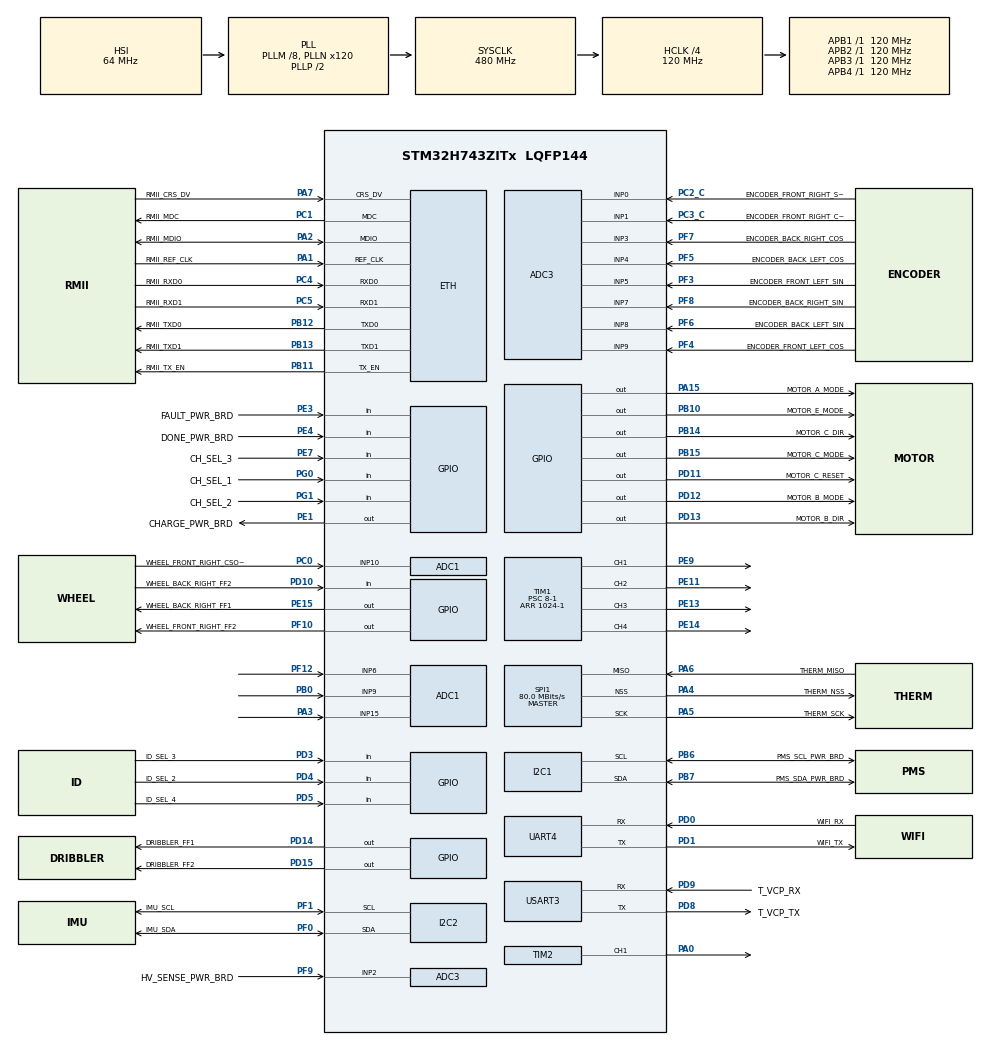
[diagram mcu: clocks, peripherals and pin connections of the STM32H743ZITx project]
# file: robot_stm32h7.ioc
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ADC1.Channel-1\#ChannelRegularConversion=ADC_CHANNEL_10
ADC1.ClockPrescaler=ADC_CLOCK_ASYNC_DIV6
ADC1.NbrOfConversionFlag=1
ADC1.OffsetNumber-1\#ChannelRegularConversion=ADC_OFFSET_NONE
ADC1.Rank-1\#ChannelRegularConversion=1
ADC1.SamplingTime-1\#ChannelRegularConversion=ADC_SAMPLETIME_1CYCLE_5
ADC1.master=1
ADC2.Channel-0\#ChannelRegularConversion=ADC_CHANNEL_10
ADC2.ClockPrescaler=ADC_CLOCK_ASYNC_DIV6
ADC2.NbrOfConversionFlag=1
ADC2.OffsetNumber-0\#ChannelRegularConversion=ADC_OFFSET_NONE
ADC2.Rank-0\#ChannelRegularConversion=1
ADC2.SamplingTime-0\#ChannelRegularConversion=ADC_SAMPLETIME_1CYCLE_5
ADC3.Channel-3\#ChannelRegularConversion=ADC_CHANNEL_1
ADC3.ClockPrescaler=ADC_CLOCK_ASYNC_DIV6
ADC3.NbrOfConversionFlag=1
ADC3.OffsetNumber-3\#ChannelRegularConversion=ADC_OFFSET_NONE
ADC3.Rank-3\#ChannelRegularConversion=1
ADC3.SamplingTime-3\#ChannelRegularConversion=ADC_SAMPLETIME_1CYCLE_5
CORTEX_M7.AccessPermission-Cortex_Memory_Protection_Unit_Region0_Settings=MPU_REGION_FULL_ACCESS
CORTEX_M7.AccessPermission-Cortex_Memory_Protection_Unit_Region1_Settings=MPU_REGION_FULL_ACCESS
CORTEX_M7.AccessPermission-Cortex_Memory_Protection_Unit_Region2_Settings=MPU_REGION_FULL_ACCESS
CORTEX_M7.BaseAddress-Cortex_Memory_Protection_Unit_Region0_Settings=0x30040000
CORTEX_M7.BaseAddress-Cortex_Memory_Protection_Unit_Region1_Settings=0x30044000
CORTEX_M7.BaseAddress-Cortex_Memory_Protection_Unit_Region2_Settings=0x24000000
CORTEX_M7.CPU_DCache=Enabled
CORTEX_M7.CPU_ICache=Enabled
CORTEX_M7.Enable-Cortex_Memory_Protection_Unit_Region0_Settings=MPU_REGION_ENABLE
CORTEX_M7.Enable-Cortex_Memory_Protection_Unit_Region1_Settings=MPU_REGION_ENABLE
CORTEX_M7.Enable-Cortex_Memory_Protection_Unit_Region2_Settings=MPU_REGION_ENABLE
CORTEX_M7.IsBufferable-Cortex_Memory_Protection_Unit_Region0_Settings=MPU_ACCESS_BUFFERABLE
CORTEX_M7.IsBufferable-Cortex_Memory_Protection_Unit_Region1_Settings=MPU_ACCESS_NOT_BUFFERABLE
CORTEX_M7.IsBufferable-Cortex_Memory_Protection_Unit_Region2_Settings=MPU_ACCESS_BUFFERABLE
CORTEX_M7.IsCacheable-Cortex_Memory_Protection_Unit_Region1_Settings=MPU_ACCESS_CACHEABLE
CORTEX_M7.IsCacheable-Cortex_Memory_Protection_Unit_Region2_Settings=MPU_ACCESS_CACHEABLE
CORTEX_M7.IsShareable-Cortex_Memory_Protection_Unit_Region1_Settings=MPU_ACCESS_NOT_SHAREABLE
CORTEX_M7.IsShareable-Cortex_Memory_Protection_Unit_Region2_Settings=MPU_ACCESS_SHAREABLE
CORTEX_M7.MPU_Control=MPU_PRIVILEGED_DEFAULT
CORTEX_M7.Size-Cortex_Memory_Protection_Unit_Region0_Settings=MPU_REGION_SIZE_256B
CORTEX_M7.Size-Cortex_Memory_Protection_Unit_Region1_Settings=MPU_REGION_SIZE_16KB
CORTEX_M7.Size-Cortex_Memory_Protection_Unit_Region2_Settings=MPU_REGION_SIZE_512KB
CORTEX_M7.TypeExtField-Cortex_Memory_Protection_Unit_Region1_Settings=MPU_TEX_LEVEL0
CORTEX_M7.TypeExtField-Cortex_Memory_Protection_Unit_Region2_Settings=MPU_TEX_LEVEL1
Dma.Request0=UART4_RX
Dma.UART4_RX.0.Direction=DMA_PERIPH_TO_MEMORY
Dma.UART4_RX.0.EventEnable=DISABLE
Dma.UART4_RX.0.FIFOMode=DMA_FIFOMODE_DISABLE
Dma.UART4_RX.0.Instance=DMA1_Stream0
Dma.UART4_RX.0.MemDataAlignment=DMA_MDATAALIGN_BYTE
Dma.UART4_RX.0.MemInc=DMA_MINC_ENABLE
Dma.UART4_RX.0.Mode=DMA_CIRCULAR
Dma.UART4_RX.0.PeriphDataAlignment=DMA_PDATAALIGN_BYTE
Dma.UART4_RX.0.PeriphInc=DMA_PINC_DISABLE
Dma.UART4_RX.0.Polarity=HAL_DMAMUX_REQ_GEN_RISING
Dma.UART4_RX.0.Priority=DMA_PRIORITY_LOW
Dma.UART4_RX.0.RequestNumber=1
Dma.UART4_RX.0.SignalID=NONE
Dma.UART4_RX.0.SyncEnable=DISABLE
Dma.UART4_RX.0.SyncPolarity=HAL_DMAMUX_SYNC_NO_EVENT
Dma.UART4_RX.0.SyncRequestNumber=1
Dma.UART4_RX.0.SyncSignalID=NONE
ETH.MediaInterface=HAL_ETH_RMII_MODE
FREERTOS.Queues01=RobotLogProtoQ,16,TbotsProto_RobotLog,0,Dynamic,NULL,NULL
FREERTOS.Tasks01=NetStartTask,24,1024,io_proto_multicast_startNetworkingTask,As weak,NULL,Static,NetStartTaskBuffer,NetStartTaskControlBlock;RobotStatusTask,25,1024,io_proto_multicast_senderTask,As external,(void *)robot_status_msg_sender_profile,Static,RobotStatusTaskBuffer,RobotStatusTaskControlBlock;VisionMsgTask,24,1024,io_proto_multicast_listenerTask,As external,(void *)vision_msg_listener_profile,Static,VisionMsgTaskBuffer,VisionMsgTaskControlBlock;PrimMsgTask,24,1024,io_proto_multicast_listenerTask,As external,(void *)primitive_msg_listener_profile,Static,PrimMsgTaskBuffer,PrimMsgTaskControlBlock;RobotStatus,24,1024,io_robot_status_task,As external,(void*)robot_status_msg_sender_profile,Static,RobotStatusBuffer,RobotStatusControlBlock;RobotLogMsgSend,24,1024,io_proto_multicast_senderTask,As external,(void *)robot_log_msg_sender_profile,Static,RobotLogMsgSendBuffer,RobotLogMsgSendControlBlock;NetworkRobotLog,24,1024,io_network_logger_task,As external,(void*)robot_log_msg_sender_profile,Static,NetworkRobotLogBuffer,NetworkRobotLogControlBlock;UbloxOdinTask,24,1024,io_ublox_odinw262_communicator_task,As external,NULL,Static,UbloxOdinTaskBuffer,UbloxOdinTaskControlBlock;RobotStatusSend,24,1024,io_proto_multicast_senderTask,As external,(void*)robot_status_msg_sender_profile,Static,RobotStatusSendBuffer,RobotStatusSendControlBlock;RobotTask,24,1024,RobotMain,Default,(void *)primitive_msg_listener_profile ,Static,PrimitiveManageBuffer,PrimitiveManageControlBlock
FREERTOS.configMINIMAL_STACK_SIZE=1024
FREERTOS.configTOTAL_HEAP_SIZE=80720
I2C1.Timing=0x307075B1
I2C2.Timing=0x307075B1
LWIP.BSP.number=1
LWIP.LWIP_DHCP=0
LWIP.LWIP_IGMP=1
LWIP.LWIP_IPV4=0
LWIP.LWIP_IPV6=1
LWIP.LWIP_TCP=0
LWIP.MEMP_MEM_MALLOC=1
LWIP.MEM_LIBC_MALLOC=1
LWIP.MEM_SIZE=32768
LWIP.Version=v2.1.2_Cube
LWIP0.BSP.STBoard=false
LWIP0.BSP.api=BSP_COMPONENT_DRIVER
LWIP0.BSP.component=LAN8742
LWIP0.BSP.i2caddr=0
LWIP0.BSP.instance=LAN8742
LWIP0.BSP.name=Driver_PHY
LWIP0.BSP.solution=LAN8742
Mcu.Family=STM32H7
Mcu.Name=STM32H743ZITx
Mcu.Package=LQFP144
NVIC.DMA1_Stream0_IRQn=true\:5\:0\:false\:false\:true\:true\:false\:true
NVIC.ETH_IRQn=true\:5\:0\:false\:false\:true\:true\:true\:true
NVIC.ETH_WKUP_IRQn=true\:5\:0\:false\:false\:true\:true\:true\:true
NVIC.PriorityGroup=NVIC_PRIORITYGROUP_4
NVIC.UART4_IRQn=true\:5\:0\:false\:false\:true\:true\:true\:true
NVIC.USART3_IRQn=true\:5\:0\:false\:false\:true\:true\:true\:true
PA0.Signal=S_TIM2_CH1
PA1.GPIO_Label=RMII_REF_CLK
PA1.Mode=RMII
PA1.Signal=ETH_REF_CLK
PA13\ (JTMS/SWDIO).GPIO_Label=T_SWDIO
PA13\ (JTMS/SWDIO).Mode=Trace_Asynchronous_SW
PA13\ (JTMS/SWDIO).Signal=DEBUG_JTMS-SWDIO
PA14\ (JTCK/SWCLK).GPIO_Label=T_SWCLK
PA14\ (JTCK/SWCLK).Mode=Trace_Asynchronous_SW
PA14\ (JTCK/SWCLK).Signal=DEBUG_JTCK-SWCLK
PA15\ (JTDI).GPIO_Label=MOTOR_A_MODE
PA15\ (JTDI).Signal=GPIO_Output
PA2.GPIO_Label=RMII_MDIO
PA2.Mode=RMII
PA2.Signal=ETH_MDIO
PA3.Signal=ADCx_INP15
PA4.GPIO_Label=THERM_NSS
PA4.Mode=NSS_Signal_Hard_Output
PA4.Signal=SPI1_NSS
PA5.GPIO_Label=THERM_SCK
PA5.Mode=RX_Only_Simplex_Unidirect_Master
PA5.Signal=SPI1_SCK
PA6.GPIO_Label=THERM_MISO
PA6.Mode=RX_Only_Simplex_Unidirect_Master
PA6.Signal=SPI1_MISO
PA7.GPIO_Label=RMII_CRS_DV
PA7.Mode=RMII
PA7.Signal=ETH_CRS_DV
PB0.Signal=ADCx_INP9
PB1.Signal=ADCx_INP5
PB10.GPIO_Label=MOTOR_E_MODE
PB10.Signal=GPIO_Output
PB11.GPIO_Label=RMII_TX_EN
PB11.Mode=RMII
PB11.Signal=ETH_TX_EN
PB12.GPIO_Label=RMII_TXD0
PB12.Mode=RMII
PB12.Signal=ETH_TXD0
PB13.GPIO_Label=RMII_TXD1
PB13.Mode=RMII
PB13.Signal=ETH_TXD1
PB14.GPIO_Label=MOTOR_C_DIR
PB14.Signal=GPIO_Output
PB15.GPIO_Label=MOTOR_C_MODE
PB15.Signal=GPIO_Output
PB3\ (JTDO/TRACESWO).GPIO_Label=T_SWO
PB3\ (JTDO/TRACESWO).Mode=Trace_Asynchronous_SW
PB3\ (JTDO/TRACESWO).Signal=DEBUG_JTDO-SWO
PB6.GPIO_Label=PMS_SCL_PWR_BRD
PB6.Mode=I2C
PB6.Signal=I2C1_SCL
PB7.GPIO_Label=PMS_SDA_PWR_BRD
PB7.Mode=I2C
PB7.Signal=I2C1_SDA
PB8.Signal=S_TIM16_CH1
PB9.Signal=S_TIM17_CH1
PC0.GPIO_Label=WHEEL_FRONT_RIGHT_CSOUT
PC0.Signal=ADCx_INP10
PC1.GPIO_Label=RMII_MDC
PC1.Mode=RMII
PC1.Signal=ETH_MDC
PC10.GPIO_Label=SD_DAT2
PC10.Signal=SDMMC1_D2
PC11.GPIO_Label=SD_DAT3
PC11.Signal=SDMMC1_D3
PC12.GPIO_Label=SD_CLK
PC12.Signal=SDMMC1_CK
PC14-OSC32_IN\ (OSC32_IN).GPIO_Label=PC14-OSC32_IN
PC14-OSC32_IN\ (OSC32_IN).Mode=LSE-External-Oscillator
PC14-OSC32_IN\ (OSC32_IN).Signal=RCC_OSC32_IN
PC15-OSC32_OUT\ (OSC32_OUT).GPIO_Label=PC15-OSC32_OUT
PC15-OSC32_OUT\ (OSC32_OUT).Mode=LSE-External-Oscillator
PC15-OSC32_OUT\ (OSC32_OUT).Signal=RCC_OSC32_OUT
PC2_C.GPIO_Label=ENCODER_FRONT_RIGHT_SIN
PC2_C.Signal=SharedAnalog_PC2
PC3_C.GPIO_Label=ENCODER_FRONT_RIGHT_COS
PC3_C.Mode=IN1-Single-Ended
PC3_C.Signal=ADC3_INP1
PC4.GPIO_Label=RMII_RXD0
PC4.Mode=RMII
PC4.Signal=ETH_RXD0
PC5.GPIO_Label=RMII_RXD1
PC5.Mode=RMII
PC5.Signal=ETH_RXD1
PD0.GPIO_Label=WIFI_RX
PD0.Mode=Asynchronous
PD0.Signal=UART4_RX
PD1.GPIO_Label=WIFI_TX
PD1.Mode=Asynchronous
PD1.Signal=UART4_TX
PD10.GPIO_Label=WHEEL_BACK_RIGHT_FF2
PD10.Signal=GPIO_Input
PD11.GPIO_Label=MOTOR_C_RESET
PD11.Signal=GPIO_Output
PD12.GPIO_Label=MOTOR_B_MODE
PD12.Signal=GPIO_Output
PD13.GPIO_Label=MOTOR_B_DIR
PD13.Signal=GPIO_Output
PD14.GPIO_Label=DRIBBLER_FF1
PD14.Signal=GPIO_Output
PD15.GPIO_Label=DRIBBLER_FF2
PD15.Signal=GPIO_Output
PD2.GPIO_Label=SD_CMD
PD2.Signal=SDMMC1_CMD
PD3.GPIO_Label=ID_SEL_3
PD3.Signal=GPIO_Input
PD4.GPIO_Label=ID_SEL_2
PD4.Signal=GPIO_Input
PD5.GPIO_Label=ID_SEL_4
PD5.Signal=GPIO_Input
PD8.GPIO_Label=T_VCP_TX
PD8.Mode=Asynchronous
PD8.Signal=USART3_TX
PD9.GPIO_Label=T_VCP_RX
PD9.Mode=Asynchronous
PD9.Signal=USART3_RX
PE1.GPIO_Label=CHARGE_PWR_BRD
PE1.Signal=GPIO_Output
PE11.Signal=S_TIM1_CH2
PE13.Signal=S_TIM1_CH3
PE14.Signal=S_TIM1_CH4
PE15.GPIO_Label=WHEEL_BACK_RIGHT_FF1
PE15.Signal=GPIO_Output
PE3.GPIO_Label=FAULT_PWR_BRD
PE3.Signal=GPIO_Input
PE4.GPIO_Label=DONE_PWR_BRD
PE4.Signal=GPIO_Input
PE7.GPIO_Label=CH_SEL_3
PE7.Signal=GPIO_Input
PE9.Signal=S_TIM1_CH1
PF0.GPIO_Label=IMU_SDA
PF0.Mode=I2C
PF0.Signal=I2C2_SDA
PF1.GPIO_Label=IMU_SCL
PF1.Mode=I2C
PF1.Signal=I2C2_SCL
PF10.GPIO_Label=WHEEL_FRONT_RIGHT_FF2
PF10.Signal=GPIO_Output
PF11.Signal=ADC1_INP2
PF12.Mode=IN6-Single-Ended
PF12.Signal=ADC1_INP6
PF3.GPIO_Label=ENCODER_FRONT_LEFT_SIN
PF3.Mode=IN5-Single-Ended
PF3.Signal=ADC3_INP5
PF4.GPIO_Label=ENCODER_FRONT_LEFT_COS
PF4.Mode=IN9-Single-Ended
PF4.Signal=ADC3_INP9
PF5.GPIO_Label=ENCODER_BACK_LEFT_COS
PF5.Mode=IN4-Single-Ended
PF5.Signal=ADC3_INP4
PF6.GPIO_Label=ENCODER_BACK_LEFT_SIN
PF6.Signal=SharedAnalog_PF6
PF7.GPIO_Label=ENCODER_BACK_RIGHT_COS
PF7.Mode=IN3-Single-Ended
PF7.Signal=ADC3_INP3
PF8.GPIO_Label=ENCODER_BACK_RIGHT_SIN
PF8.Signal=SharedAnalog_PF8
PF9.GPIO_Label=HV_SENSE_PWR_BRD
PF9.Mode=IN2-Single-Ended
PF9.Signal=ADC3_INP2
PG0.GPIO_Label=CH_SEL_1
PG0.Signal=GPIO_Input
PG1.GPIO_Label=CH_SEL_2
PG1.Signal=GPIO_Input
PH0-OSC_IN\ (PH0).Mode=HSE-External-Oscillator
PH0-OSC_IN\ (PH0).Signal=RCC_OSC_IN
PH1-OSC_OUT\ (PH1).Mode=HSE-External-Oscillator
PH1-OSC_OUT\ (PH1).Signal=RCC_OSC_OUT
ProjectManager.HeapSize=0x200
ProjectManager.StackSize=0x400
ProjectManager.TargetToolchain=Makefile
RCC.48MHZClocksFreq_Value=24000000
RCC.ADCFreq_Value=80000000
RCC.AHBFreq_Value=216000000
RCC.APB1CLKDivider=RCC_HCLK_DIV4
RCC.APB1Freq_Value=120000000
RCC.APB1TimFreq_Value=108000000
RCC.APB2CLKDivider=RCC_HCLK_DIV2
RCC.APB2Freq_Value=120000000
RCC.APB2TimFreq_Value=216000000
RCC.APB3Freq_Value=120000000
RCC.APB4Freq_Value=120000000
RCC.CortexFreq_Value=15000000
RCC.Cortex_Div=SYSTICK_CLKSOURCE_HCLK_DIV8
RCC.D1CPRE=RCC_SYSCLK_DIV4
RCC.DIVM1=8
RCC.DIVM2=5
RCC.DIVM3=5
RCC.DIVN1=120
RCC.DIVN2=50
RCC.DIVN3=50
RCC.DIVP2=8
RCC.DIVQ1=6
RCC.HCLKFreq_Value=120000000
RCC.HSE_VALUE=25000000
RCC.HSI_VALUE=64000000
RCC.PLL2FRACN=0
RCC.PLLFRACN=0
RCC.PLLM=25
RCC.PLLMUL=RCC_PLL_MUL9
RCC.PLLN=432
RCC.PLLQ=9
RCC.PRESCALERUSB=RCC_USBCLKSOURCE_PLL_DIV1_5
RCC.PWR_Regulator_Voltage_Scale=PWR_REGULATOR_VOLTAGE_SCALE0
RCC.SYSCLKFreq_VALUE=480000000
RCC.SYSCLKSource=RCC_SYSCLKSOURCE_PLLCLK
RCC.SYSCLKSourceVirtual=RCC_SYSCLKSOURCE_PLLCLK
RCC.USBFreq_Value=160000000
RCC.VCOOutputFreq_Value=432000000
SH.ADCx_INP10.0=ADC1_INP10,IN10-Single-Ended
SH.ADCx_INP10.1=ADC2_INP10,IN10-Single-Ended
SH.ADCx_INP10.2=ADC3_INP10,IN10-Single-Ended
SH.ADCx_INP15.0=ADC1_INP15,IN15-Single-Ended
SH.ADCx_INP5.0=ADC1_INP5
SH.ADCx_INP9.0=ADC1_INP9,IN9-Single-Ended
SH.S_TIM16_CH1.0=TIM16_CH1
SH.S_TIM17_CH1.0=TIM17_CH1
SH.S_TIM1_CH1.0=TIM1_CH1,PWM Generation1 CH1
SH.S_TIM1_CH2.0=TIM1_CH2,PWM Generation2 CH2
SH.S_TIM1_CH3.0=TIM1_CH3,PWM Generation3 CH3
SH.S_TIM1_CH4.0=TIM1_CH4,PWM Generation4 CH4
SH.S_TIM2_CH1.0=TIM2_CH1,PWM Generation1 CH1
SH.SharedAnalog_PC2.0=ADC3_INN1
SH.SharedAnalog_PC2.1=ADC3_INP0,IN0-Single-Ended
SH.SharedAnalog_PF6.0=ADC3_INN4
SH.SharedAnalog_PF6.1=ADC3_INP8,IN8-Single-Ended
SH.SharedAnalog_PF8.0=ADC3_INN3
SH.SharedAnalog_PF8.1=ADC3_INP7,IN7-Single-Ended
SPI1.CalculateBaudRate=80.0 MBits/s
SPI1.Direction=SPI_DIRECTION_2LINES_RXONLY
SPI1.Mode=SPI_MODE_MASTER
SPI1.VirtualNSS=VM_NSSHARD
SPI1.VirtualType=VM_MASTER
TIM1.AutoReloadPreload=TIM_AUTORELOAD_PRELOAD_ENABLE
TIM1.Channel-PWM\ Generation1\ CH1=TIM_CHANNEL_1
TIM1.Channel-PWM\ Generation2\ CH2=TIM_CHANNEL_2
TIM1.Channel-PWM\ Generation3\ CH3=TIM_CHANNEL_3
TIM1.Channel-PWM\ Generation4\ CH4=TIM_CHANNEL_4
TIM1.Period=1024-1
TIM1.Prescaler=8-1
TIM1.Pulse-PWM\ Generation1\ CH1=512
TIM1.Pulse-PWM\ Generation2\ CH2=512
TIM1.Pulse-PWM\ Generation3\ CH3=512
TIM1.Pulse-PWM\ Generation4\ CH4=512
TIM2.Channel-PWM\ Generation1\ CH1=TIM_CHANNEL_1
USART3.VirtualMode-Asynchronous=VM_ASYNC
VP_CRC_VS_CRC.Mode=CRC_Activate
VP_FREERTOS_VS_CMSIS_V2.Mode=CMSIS_V2
VP_LWIP_VS_Enabled.Mode=Enabled
VP_TIM16_VS_ClockSourceINT.Mode=Enable_Timer
VP_TIM17_VS_ClockSourceINT.Mode=Enable_Timer
board=NUCLEO-H743ZI

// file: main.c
/* USER CODE BEGIN Header */
/**
 ******************************************************************************
 * @file           : main.c
 * @brief          : Main program body
 ******************************************************************************
 * @attention
 *
 * <h2><center>&copy; Copyright (c) 2020 STMicroelectronics.
 * All rights reserved.</center></h2>
 *
 * This software component is licensed by ST under Ultimate Liberty license
 * SLA0044, the "License"; You may not use this file except in compliance with
 * the License. You may obtain a copy of the License at:
 *                             www.st.com/SLA0044
 *
 ******************************************************************************
 */
#pragma GCC diagnostic push
#pragma GCC diagnostic ignored "-Wsign-conversion"
/* USER CODE END Header */
#include "main.h"

#include "adc.h"
#include "cmsis_os.h"
#include "crc.h"
#include "dma.h"
#include "gpio.h"
#include "i2c.h"
#include "lwip.h"
#include "spi.h"
#include "tim.h"
#include "usart.h"

/* USER CODE BEGIN Includes */
#pragma GCC diagnostic pop

#include "firmware/app/logger/logger.h"
#include "firmware/app/primitives/primitive_manager.h"
#include "firmware/app/world/firmware_robot.h"
#include "firmware/app/world/firmware_world.h"
#include "firmware/boards/robot_stm32h7/io/charger.h"
#include "firmware/boards/robot_stm32h7/io/chicker.h"
#include "firmware/boards/robot_stm32h7/io/dribbler.h"
#include "firmware/boards/robot_stm32h7/io/drivetrain.h"
#include "firmware/boards/robot_stm32h7/io/power_monitor.h"
#include "firmware/boards/robot_stm32h7/io/uart_logger.h"
#include "firmware/boards/robot_stm32h7/io/vision.h"
#include "firmware/shared/physics.h"
#pragma GCC diagnostic pop

/* USER CODE END Includes */

void SystemClock_Config(void);
void PeriphCommonClock_Config(void);
static void MPU_Config(void);
void MX_FREERTOS_Init(void);

int main(void)
{

    /* MPU Configuration--------------------------------------------------------*/
    MPU_Config();

    /* Enable I-Cache---------------------------------------------------------*/
    SCB_EnableICache();

    /* Enable D-Cache---------------------------------------------------------*/
    SCB_EnableDCache();

    /* MCU Configuration--------------------------------------------------------*/

    /* Reset of all peripherals, Initializes the Flash interface and the Systick. */
    HAL_Init();

    /* Configure the system clock */
    SystemClock_Config();

    /* Configure the peripherals common clocks */
    PeriphCommonClock_Config();

    /* Initialize all configured peripherals */
    MX_GPIO_Init();
    MX_DMA_Init();
    MX_USART3_UART_Init();
    MX_ADC3_Init();
    MX_I2C1_Init();
    MX_I2C2_Init();
    MX_SPI1_Init();
    MX_ADC1_Init();
    MX_ADC2_Init();
    MX_TIM1_Init();
    MX_UART4_Init();
    MX_CRC_Init();
    MX_TIM2_Init();
    MX_TIM16_Init();
    MX_TIM17_Init();
    /* USER CODE BEGIN 2 */

    //              ---- Initialize App/IO Layers ----
    //
    // At this point the UART peripheral should be configured correctly
    // so we initialize the UART logger here so that we can see logs
    // from the initialization functions without having to be connected to a network
    io_uart_logger_init(&huart3);
    app_logger_init(0, &io_uart_logger_handleRobotLog);

    TLOG_DEBUG("Initializing I/O Layer");

    HAL_TIM_PWM_Start(&htim1, TIM_CHANNEL_1);
    HAL_TIM_PWM_Start(&htim1, TIM_CHANNEL_2);
    HAL_TIM_PWM_Start(&htim1, TIM_CHANNEL_3);
    HAL_TIM_PWM_Start(&htim1, TIM_CHANNEL_4);

    initIoDrivetrain();
    initIoNetworking();
    initIoPowerMonitor();
    /* USER CODE END 2 */

    /* Init scheduler */
    osKernelInitialize(); /* Call init function for freertos objects (in freertos.c) */
    MX_FREERTOS_Init();
    /* Start scheduler */
    osKernelStart();

    /* We should never get here as control is now taken by the scheduler */
    /* Infinite loop */
    while (1)
    {

    }
}

void SystemClock_Config(void)
{
    RCC_OscInitTypeDef RCC_OscInitStruct = {0};
    RCC_ClkInitTypeDef RCC_ClkInitStruct = {0};

    /** Supply configuration update enable
     */
    HAL_PWREx_ConfigSupply(PWR_LDO_SUPPLY);
    /** Configure the main internal regulator output voltage
     */
    __HAL_PWR_VOLTAGESCALING_CONFIG(PWR_REGULATOR_VOLTAGE_SCALE0);

    while (!__HAL_PWR_GET_FLAG(PWR_FLAG_VOSRDY))
    {
    }
    /** Macro to configure the PLL clock source
     */
    __HAL_RCC_PLL_PLLSOURCE_CONFIG(RCC_PLLSOURCE_HSI);
    /** Initializes the RCC Oscillators according to the specified parameters
     * in the RCC_OscInitTypeDef structure.
     */
    RCC_OscInitStruct.OscillatorType      = RCC_OSCILLATORTYPE_HSI;
    RCC_OscInitStruct.HSIState            = RCC_HSI_DIV1;
    RCC_OscInitStruct.HSICalibrationValue = RCC_HSICALIBRATION_DEFAULT;
    RCC_OscInitStruct.PLL.PLLState        = RCC_PLL_ON;
    RCC_OscInitStruct.PLL.PLLSource       = RCC_PLLSOURCE_HSI;
    RCC_OscInitStruct.PLL.PLLM            = 8;
    RCC_OscInitStruct.PLL.PLLN            = 120;
    RCC_OscInitStruct.PLL.PLLP            = 2;
    RCC_OscInitStruct.PLL.PLLQ            = 6;
    RCC_OscInitStruct.PLL.PLLR            = 2;
    RCC_OscInitStruct.PLL.PLLRGE          = RCC_PLL1VCIRANGE_3;
    RCC_OscInitStruct.PLL.PLLVCOSEL       = RCC_PLL1VCOWIDE;
    RCC_OscInitStruct.PLL.PLLFRACN        = 0;
    if (HAL_RCC_OscConfig(&RCC_OscInitStruct) != HAL_OK)
    {
        Error_Handler();
    }
    /** Initializes the CPU, AHB and APB buses clocks
     */
    RCC_ClkInitStruct.ClockType = RCC_CLOCKTYPE_HCLK | RCC_CLOCKTYPE_SYSCLK |
                                  RCC_CLOCKTYPE_PCLK1 | RCC_CLOCKTYPE_PCLK2 |
                                  RCC_CLOCKTYPE_D3PCLK1 | RCC_CLOCKTYPE_D1PCLK1;
    RCC_ClkInitStruct.SYSCLKSource   = RCC_SYSCLKSOURCE_PLLCLK;
    RCC_ClkInitStruct.SYSCLKDivider  = RCC_SYSCLK_DIV4;
    RCC_ClkInitStruct.AHBCLKDivider  = RCC_HCLK_DIV1;
    RCC_ClkInitStruct.APB3CLKDivider = RCC_APB3_DIV1;
    RCC_ClkInitStruct.APB1CLKDivider = RCC_APB1_DIV1;
    RCC_ClkInitStruct.APB2CLKDivider = RCC_APB2_DIV1;
    RCC_ClkInitStruct.APB4CLKDivider = RCC_APB4_DIV1;

    if (HAL_RCC_ClockConfig(&RCC_ClkInitStruct, FLASH_LATENCY_1) != HAL_OK)
    {
        Error_Handler();
    }
}

void PeriphCommonClock_Config(void)
{
    RCC_PeriphCLKInitTypeDef PeriphClkInitStruct = {0};

    /** Initializes the peripherals clock
     */
    PeriphClkInitStruct.PeriphClockSelection = RCC_PERIPHCLK_ADC;
    PeriphClkInitStruct.PLL2.PLL2M           = 5;
    PeriphClkInitStruct.PLL2.PLL2N           = 50;
    PeriphClkInitStruct.PLL2.PLL2P           = 8;
    PeriphClkInitStruct.PLL2.PLL2Q           = 2;
    PeriphClkInitStruct.PLL2.PLL2R           = 2;
    PeriphClkInitStruct.PLL2.PLL2RGE         = RCC_PLL2VCIRANGE_3;
    PeriphClkInitStruct.PLL2.PLL2VCOSEL      = RCC_PLL2VCOWIDE;
    PeriphClkInitStruct.PLL2.PLL2FRACN       = 0;
    PeriphClkInitStruct.AdcClockSelection    = RCC_ADCCLKSOURCE_PLL2;
    if (HAL_RCCEx_PeriphCLKConfig(&PeriphClkInitStruct) != HAL_OK)
    {
        Error_Handler();
    }
}

/* MPU Configuration */

void MPU_Config(void)
{
    MPU_Region_InitTypeDef MPU_InitStruct = {0};

    /* Disables the MPU */
    HAL_MPU_Disable();
    /** Initializes and configures the Region and the memory to be protected
     */
    MPU_InitStruct.Enable           = MPU_REGION_ENABLE;
    MPU_InitStruct.Number           = MPU_REGION_NUMBER0;
    MPU_InitStruct.BaseAddress      = 0x30040000;
    MPU_InitStruct.Size             = MPU_REGION_SIZE_256B;
    MPU_InitStruct.SubRegionDisable = 0x0;
    MPU_InitStruct.TypeExtField     = MPU_TEX_LEVEL0;
    MPU_InitStruct.AccessPermission = MPU_REGION_FULL_ACCESS;
    MPU_InitStruct.DisableExec      = MPU_INSTRUCTION_ACCESS_ENABLE;
    MPU_InitStruct.IsShareable      = MPU_ACCESS_NOT_SHAREABLE;
    MPU_InitStruct.IsCacheable      = MPU_ACCESS_NOT_CACHEABLE;
    MPU_InitStruct.IsBufferable     = MPU_ACCESS_BUFFERABLE;

    HAL_MPU_ConfigRegion(&MPU_InitStruct);
    /** Initializes and configures the Region and the memory to be protected
     */
    MPU_InitStruct.Number       = MPU_REGION_NUMBER1;
    MPU_InitStruct.BaseAddress  = 0x30044000;
    MPU_InitStruct.Size         = MPU_REGION_SIZE_16KB;
    MPU_InitStruct.IsCacheable  = MPU_ACCESS_CACHEABLE;
    MPU_InitStruct.IsBufferable = MPU_ACCESS_NOT_BUFFERABLE;

    HAL_MPU_ConfigRegion(&MPU_InitStruct);
    /** Initializes and configures the Region and the memory to be protected
     */
    MPU_InitStruct.Number       = MPU_REGION_NUMBER2;
    MPU_InitStruct.BaseAddress  = 0x24000000;
    MPU_InitStruct.Size         = MPU_REGION_SIZE_512KB;
    MPU_InitStruct.TypeExtField = MPU_TEX_LEVEL1;
    MPU_InitStruct.IsShareable  = MPU_ACCESS_SHAREABLE;
    MPU_InitStruct.IsBufferable = MPU_ACCESS_BUFFERABLE;

    HAL_MPU_ConfigRegion(&MPU_InitStruct);
    /* Enables the MPU */
    HAL_MPU_Enable(MPU_PRIVILEGED_DEFAULT);
}

void Error_Handler(void)
{
}

/************************ (C) COPYRIGHT STMicroelectronics *****END OF FILE****/

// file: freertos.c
/* USER CODE BEGIN Header */
/**
 ******************************************************************************
 * File Name          : freertos.c
 * Description        : Code for freertos applications
 ******************************************************************************
 * @attention
 *
 * <h2><center>&copy; Copyright (c) 2020 STMicroelectronics.
 * All rights reserved.</center></h2>
 *
 * This software component is licensed by ST under Ultimate Liberty license
 * SLA0044, the "License"; You may not use this file except in compliance with
 * the License. You may obtain a copy of the License at:
 *                             www.st.com/SLA0044
 *
 ******************************************************************************
 */
#pragma GCC diagnostic push
#pragma GCC diagnostic ignored "-Wsign-conversion"
/* USER CODE END Header */

#include "FreeRTOS.h"

#include "cmsis_os.h"
#include "main.h"
#include "task.h"

/* USER CODE BEGIN Includes */
#pragma GCC diagnostic pop
#include "firmware/app/logger/logger.h"
#include "firmware/app/primitives/primitive_manager.h"
#include "firmware/app/world/firmware_robot.h"
#include "firmware/app/world/firmware_world.h"
#include "firmware/boards/robot_stm32h7/io/charger.h"
#include "firmware/boards/robot_stm32h7/io/chicker.h"
#include "firmware/boards/robot_stm32h7/io/dribbler.h"
#include "firmware/boards/robot_stm32h7/io/drivetrain.h"
#include "firmware/boards/robot_stm32h7/io/network_logger.h"
#include "firmware/boards/robot_stm32h7/io/power_monitor.h"
#include "firmware/boards/robot_stm32h7/io/proto_multicast.h"
#include "firmware/boards/robot_stm32h7/io/proto_multicast_communication_profile.h"
#include "firmware/boards/robot_stm32h7/io/robot_status.h"
#include "firmware/boards/robot_stm32h7/io/uart_logger.h"
#include "firmware/boards/robot_stm32h7/io/ublox_odinw262_communicator.h"
#include "firmware/boards/robot_stm32h7/io/vision.h"
#include "firmware/boards/robot_stm32h7/tim.h"
#include "firmware/boards/robot_stm32h7/usart.h"
#include "firmware/shared/physics.h"
#include "shared/proto/robot_log_msg.nanopb.h"
#include "shared/proto/robot_status_msg.nanopb.h"
#include "shared/proto/tbots_software_msgs.nanopb.h"
/* USER CODE END Includes */

typedef StaticTask_t osStaticThreadDef_t;
/* USER CODE BEGIN PTD */
// Networking
// the IPv6 multicast address, only ff02 is important, the rest is random
// see https://en.wikipedia.org/wiki/Solicited-node_multicast_address for why ff02 matters
#define MAX_MULTICAST_CHANNELS 16
#define MULTICAST_CHANNEL_LENGTH 21
const char MULTICAST_CHANNELS[MAX_MULTICAST_CHANNELS][MULTICAST_CHANNEL_LENGTH] = {
    "ff02::c3d0:42d2:bb01", "ff02::c3d0:42d2:bb02", "ff02::c3d0:42d2:bb03",
    "ff02::c3d0:42d2:bb04", "ff02::c3d0:42d2:bb05", "ff02::c3d0:42d2:bb06",
    "ff02::c3d0:42d2:bb07", "ff02::c3d0:42d2:bb08", "ff02::c3d0:42d2:bb09",
    "ff02::c3d0:42d2:bb10", "ff02::c3d0:42d2:bb11", "ff02::c3d0:42d2:bb12",
    "ff02::c3d0:42d2:bb13", "ff02::c3d0:42d2:bb14", "ff02::c3d0:42d2:bb15",
    "ff02::c3d0:42d2:bb16",
};

// the port robots are listening to for vision and primitives
const short unsigned int VISION_PORT    = 42069;
const short unsigned int PRIMITIVE_PORT = 42070;

// the port the AI receives msgs from the robot
const short unsigned int ROBOT_STATUS_PORT = 42071;
const short unsigned int ROBOT_LOGS_PORT   = 42072;

// the port to listen to for what side of the field to defend
const unsigned DEFENDING_SIDE_PORT = 42073;

// the timeout to recv a network packet
const int NETWORK_TIMEOUT_MS = 1000;

// maximum transfer unit of the network interface
// this is an int to avoid Wconversion with lwip
const short unsigned int MAXIMUM_TRANSFER_UNIT_BYTES = 1500;

/* USER CODE END PTD */

/* USER CODE BEGIN Variables */

ProtoMulticastCommunicationProfile_t *robot_status_msg_sender_profile;
ProtoMulticastCommunicationProfile_t *robot_log_msg_sender_profile;
ProtoMulticastCommunicationProfile_t *vision_msg_listener_profile;
ProtoMulticastCommunicationProfile_t *primitive_msg_listener_profile;

static TbotsProto_Vision vision_msg;
static TbotsProto_RobotStatus robot_status_msg;
static TbotsProto_RobotLog robot_log_msg;
static TbotsProto_PrimitiveSet primitive_set_msg;

/* USER CODE END Variables */
/* Definitions for NetStartTask */
osThreadId_t NetStartTaskHandle;
uint32_t NetStartTaskBuffer[1024];
osStaticThreadDef_t NetStartTaskControlBlock;
const osThreadAttr_t NetStartTask_attributes = {
    .name       = "NetStartTask",
    .cb_mem     = &NetStartTaskControlBlock,
    .cb_size    = sizeof(NetStartTaskControlBlock),
    .stack_mem  = &NetStartTaskBuffer[0],
    .stack_size = sizeof(NetStartTaskBuffer),
    .priority   = (osPriority_t)osPriorityNormal,
};
/* Definitions for RobotStatusTask */
osThreadId_t RobotStatusTaskHandle;
uint32_t RobotStatusTaskBuffer[1024];
osStaticThreadDef_t RobotStatusTaskControlBlock;
const osThreadAttr_t RobotStatusTask_attributes = {
    .name       = "RobotStatusTask",
    .cb_mem     = &RobotStatusTaskControlBlock,
    .cb_size    = sizeof(RobotStatusTaskControlBlock),
    .stack_mem  = &RobotStatusTaskBuffer[0],
    .stack_size = sizeof(RobotStatusTaskBuffer),
    .priority   = (osPriority_t)osPriorityNormal1,
};
/* Definitions for VisionMsgTask */
osThreadId_t VisionMsgTaskHandle;
uint32_t VisionMsgTaskBuffer[1024];
osStaticThreadDef_t VisionMsgTaskControlBlock;
const osThreadAttr_t VisionMsgTask_attributes = {
    .name       = "VisionMsgTask",
    .cb_mem     = &VisionMsgTaskControlBlock,
    .cb_size    = sizeof(VisionMsgTaskControlBlock),
    .stack_mem  = &VisionMsgTaskBuffer[0],
    .stack_size = sizeof(VisionMsgTaskBuffer),
    .priority   = (osPriority_t)osPriorityNormal,
};
/* Definitions for PrimMsgTask */
osThreadId_t PrimMsgTaskHandle;
uint32_t PrimMsgTaskBuffer[1024];
osStaticThreadDef_t PrimMsgTaskControlBlock;
const osThreadAttr_t PrimMsgTask_attributes = {
    .name       = "PrimMsgTask",
    .cb_mem     = &PrimMsgTaskControlBlock,
    .cb_size    = sizeof(PrimMsgTaskControlBlock),
    .stack_mem  = &PrimMsgTaskBuffer[0],
    .stack_size = sizeof(PrimMsgTaskBuffer),
    .priority   = (osPriority_t)osPriorityNormal,
};
/* Definitions for RobotStatus */
osThreadId_t RobotStatusHandle;
uint32_t RobotStatusBuffer[1024];
osStaticThreadDef_t RobotStatusControlBlock;
const osThreadAttr_t RobotStatus_attributes = {
    .name       = "RobotStatus",
    .cb_mem     = &RobotStatusControlBlock,
    .cb_size    = sizeof(RobotStatusControlBlock),
    .stack_mem  = &RobotStatusBuffer[0],
    .stack_size = sizeof(RobotStatusBuffer),
    .priority   = (osPriority_t)osPriorityNormal,
};
/* Definitions for RobotLogMsgSend */
osThreadId_t RobotLogMsgSendHandle;
uint32_t RobotLogMsgSendBuffer[1024];
osStaticThreadDef_t RobotLogMsgSendControlBlock;
const osThreadAttr_t RobotLogMsgSend_attributes = {
    .name       = "RobotLogMsgSend",
    .cb_mem     = &RobotLogMsgSendControlBlock,
    .cb_size    = sizeof(RobotLogMsgSendControlBlock),
    .stack_mem  = &RobotLogMsgSendBuffer[0],
    .stack_size = sizeof(RobotLogMsgSendBuffer),
    .priority   = (osPriority_t)osPriorityNormal,
};
/* Definitions for NetworkRobotLog */
osThreadId_t NetworkRobotLogHandle;
uint32_t NetworkRobotLogBuffer[1024];
osStaticThreadDef_t NetworkRobotLogControlBlock;
const osThreadAttr_t NetworkRobotLog_attributes = {
    .name       = "NetworkRobotLog",
    .cb_mem     = &NetworkRobotLogControlBlock,
    .cb_size    = sizeof(NetworkRobotLogControlBlock),
    .stack_mem  = &NetworkRobotLogBuffer[0],
    .stack_size = sizeof(NetworkRobotLogBuffer),
    .priority   = (osPriority_t)osPriorityNormal,
};
/* Definitions for UbloxOdinTask */
osThreadId_t UbloxOdinTaskHandle;
uint32_t UbloxOdinTaskBuffer[1024];
osStaticThreadDef_t UbloxOdinTaskControlBlock;
const osThreadAttr_t UbloxOdinTask_attributes = {
    .name       = "UbloxOdinTask",
    .cb_mem     = &UbloxOdinTaskControlBlock,
    .cb_size    = sizeof(UbloxOdinTaskControlBlock),
    .stack_mem  = &UbloxOdinTaskBuffer[0],
    .stack_size = sizeof(UbloxOdinTaskBuffer),
    .priority   = (osPriority_t)osPriorityNormal,
};
/* Definitions for RobotStatusSend */
osThreadId_t RobotStatusSendHandle;
uint32_t RobotStatusSendBuffer[1024];
osStaticThreadDef_t RobotStatusSendControlBlock;
const osThreadAttr_t RobotStatusSend_attributes = {
    .name       = "RobotStatusSend",
    .cb_mem     = &RobotStatusSendControlBlock,
    .cb_size    = sizeof(RobotStatusSendControlBlock),
    .stack_mem  = &RobotStatusSendBuffer[0],
    .stack_size = sizeof(RobotStatusSendBuffer),
    .priority   = (osPriority_t)osPriorityNormal,
};
/* Definitions for RobotTask */
osThreadId_t RobotTaskHandle;
uint32_t PrimitiveManageBuffer[1024];
osStaticThreadDef_t PrimitiveManageControlBlock;
const osThreadAttr_t RobotTask_attributes = {
    .name       = "RobotTask",
    .cb_mem     = &PrimitiveManageControlBlock,
    .cb_size    = sizeof(PrimitiveManageControlBlock),
    .stack_mem  = &PrimitiveManageBuffer[0],
    .stack_size = sizeof(PrimitiveManageBuffer),
    .priority   = (osPriority_t)osPriorityNormal,
};
/* Definitions for RobotLogProtoQ */
osMessageQueueId_t RobotLogProtoQHandle;
const osMessageQueueAttr_t RobotLogProtoQ_attributes = {.name = "RobotLogProtoQ"};

/* USER CODE BEGIN FunctionPrototypes */

// TODO (#2082) remove this as part of
float sys_now_float(void);
float sys_now_float(void)
{
    return (float)sys_now();
}
/* USER CODE END FunctionPrototypes */

void io_proto_multicast_startNetworkingTask(void *argument);
extern void io_proto_multicast_senderTask(void *argument);
extern void io_proto_multicast_listenerTask(void *argument);
extern void io_robot_status_task(void *argument);
extern void io_network_logger_task(void *argument);
extern void io_ublox_odinw262_communicator_task(void *argument);
void RobotMain(void *argument);

extern void MX_LWIP_Init(void);
void MX_FREERTOS_Init(void); /* (MISRA C 2004 rule 8.1) */

void MX_FREERTOS_Init(void)
{

    /* Create the queue(s) */
    /* creation of RobotLogProtoQ */
    RobotLogProtoQHandle =
        osMessageQueueNew(16, sizeof(TbotsProto_RobotLog), &RobotLogProtoQ_attributes);

    /* Create the thread(s) */
    /* creation of NetStartTask */
    NetStartTaskHandle = osThreadNew(io_proto_multicast_startNetworkingTask, NULL,
                                     &NetStartTask_attributes);

    /* creation of RobotStatusTask */
    RobotStatusTaskHandle =
        osThreadNew(io_proto_multicast_senderTask,
                    (void *)robot_status_msg_sender_profile, &RobotStatusTask_attributes);

    /* creation of VisionMsgTask */
    VisionMsgTaskHandle =
        osThreadNew(io_proto_multicast_listenerTask, (void *)vision_msg_listener_profile,
                    &VisionMsgTask_attributes);

    /* creation of PrimMsgTask */
    PrimMsgTaskHandle =
        osThreadNew(io_proto_multicast_listenerTask,
                    (void *)primitive_msg_listener_profile, &PrimMsgTask_attributes);

    /* creation of RobotStatus */
    RobotStatusHandle =
        osThreadNew(io_robot_status_task, (void *)robot_status_msg_sender_profile,
                    &RobotStatus_attributes);

    /* creation of RobotLogMsgSend */
    RobotLogMsgSendHandle =
        osThreadNew(io_proto_multicast_senderTask, (void *)robot_log_msg_sender_profile,
                    &RobotLogMsgSend_attributes);

    /* creation of NetworkRobotLog */
    NetworkRobotLogHandle =
        osThreadNew(io_network_logger_task, (void *)robot_log_msg_sender_profile,
                    &NetworkRobotLog_attributes);

    /* creation of UbloxOdinTask */
    UbloxOdinTaskHandle =
        osThreadNew(io_ublox_odinw262_communicator_task, NULL, &UbloxOdinTask_attributes);

    /* creation of RobotStatusSend */
    RobotStatusSendHandle =
        osThreadNew(io_proto_multicast_senderTask,
                    (void *)robot_status_msg_sender_profile, &RobotStatusSend_attributes);

    /* creation of RobotTask */
    RobotTaskHandle = osThreadNew(RobotMain, (void *)primitive_msg_listener_profile,
                                  &RobotTask_attributes);

}

__weak void io_proto_multicast_startNetworkingTask(void *argument)
{
    /* init code for LWIP */
    MX_LWIP_Init();
    /* USER CODE BEGIN io_proto_multicast_startNetworkingTask */
    /* Infinite loop */
    for (;;)
    {
        osDelay(10000);
    }
    /* USER CODE END io_proto_multicast_startNetworkingTask */
}

void RobotMain(void *argument)
{
    for (;;)
    {
        osDelay(1);
    }
}

/* USER CODE BEGIN Application */
void initIoNetworking(void)
{
    // TODO channel and robot_id need to be hooked up to the dials on the robot, when
    // available https://github.com/UBC-Thunderbots/Software/issues/1517
    unsigned short int channel = 0;

    // Initialize multicast communication
    io_proto_multicast_init(NETWORK_TIMEOUT_MS);

    primitive_msg_listener_profile = io_proto_multicast_communication_profile_create(
        "primitive_msg_listener_profile", MULTICAST_CHANNELS[channel], PRIMITIVE_PORT,
        &primitive_set_msg, TbotsProto_PrimitiveSet_fields, MAXIMUM_TRANSFER_UNIT_BYTES);

    vision_msg_listener_profile = io_proto_multicast_communication_profile_create(
        "vision_msg_listener_profile", MULTICAST_CHANNELS[channel], VISION_PORT,
        &vision_msg, TbotsProto_Vision_fields, MAXIMUM_TRANSFER_UNIT_BYTES);

    robot_status_msg_sender_profile = io_proto_multicast_communication_profile_create(
        "robot_status_msg_sender", MULTICAST_CHANNELS[channel], ROBOT_STATUS_PORT,
        &robot_status_msg, TbotsProto_RobotStatus_fields, MAXIMUM_TRANSFER_UNIT_BYTES);

    robot_log_msg_sender_profile = io_proto_multicast_communication_profile_create(
        "robot_log_msg_sender", MULTICAST_CHANNELS[channel], ROBOT_LOGS_PORT,
        &robot_log_msg, TbotsProto_RobotLog_fields, MAXIMUM_TRANSFER_UNIT_BYTES);

    // TODO (#2064) mainboard rev 2.0 doens't have a reset pin for the u-blox chip
    // so we can't enable the communicator. Uncomment this for mainboard rev 2.1
    // which should fix this issue.
    //
    GpioPin_t *ublox_reset_pin =
        io_gpio_pin_create(ID_SEL_4_GPIO_Port, ID_SEL_4_Pin, ACTIVE_LOW);

    io_ublox_odinw262_communicator_init(&huart4, ublox_reset_pin, 5);

    // Initialize network logger
    io_network_logger_init(RobotLogProtoQHandle);
}

void initIoDrivetrain(void)
{
    /*// MOTOR A
    GpioPin_t *motor_a_reset_pin =
        io_gpio_pin_create(MOTOR_A_RESET_GPIO_Port, MOTOR_A_RESET_Pin, ACTIVE_HIGH);
    GpioPin_t *motor_a_mode_pin =
        io_gpio_pin_create(MOTOR_A_MODE_GPIO_Port, MOTOR_A_MODE_Pin, ACTIVE_HIGH);
    GpioPin_t *motor_a_dir_pin =
        io_gpio_pin_create(MOTOR_A_DIR_GPIO_Port, MOTOR_A_DIR_Pin, ACTIVE_HIGH);

    // MOTOR B
    GpioPin_t *motor_b_reset_pin =
        io_gpio_pin_create(MOTOR_B_RESET_GPIO_Port, MOTOR_B_RESET_Pin, ACTIVE_HIGH);
    GpioPin_t *motor_b_mode_pin =
        io_gpio_pin_create(MOTOR_B_MODE_GPIO_Port, MOTOR_B_MODE_Pin, ACTIVE_HIGH);
    GpioPin_t *motor_b_dir_pin =
        io_gpio_pin_create(MOTOR_B_DIR_GPIO_Port, MOTOR_B_DIR_Pin, ACTIVE_HIGH);

    // MOTOR C
    GpioPin_t *motor_c_reset_pin =
        io_gpio_pin_create(MOTOR_C_RESET_GPIO_Port, MOTOR_C_RESET_Pin, ACTIVE_HIGH);
    GpioPin_t *motor_c_mode_pin =
        io_gpio_pin_create(MOTOR_C_MODE_GPIO_Port, MOTOR_C_MODE_Pin, ACTIVE_HIGH);
    GpioPin_t *motor_c_dir_pin =
        io_gpio_pin_create(MOTOR_C_DIR_GPIO_Port, MOTOR_C_DIR_Pin, ACTIVE_HIGH);

    // MOTOR D
    GpioPin_t *motor_d_reset_pin =
        io_gpio_pin_create(MOTOR_D_RESET_GPIO_Port, MOTOR_D_RESET_Pin, ACTIVE_HIGH);
    GpioPin_t *motor_d_mode_pin =
        io_gpio_pin_create(MOTOR_D_MODE_GPIO_Port, MOTOR_D_MODE_Pin, ACTIVE_HIGH);
    GpioPin_t *motor_d_dir_pin =
        io_gpio_pin_create(MOTOR_D_DIR_GPIO_Port, MOTOR_D_DIR_Pin, ACTIVE_HIGH);

    // MOTOR E
    GpioPin_t *motor_e_reset_pin =
        io_gpio_pin_create(MOTOR_E_RESET_GPIO_Port, MOTOR_E_RESET_Pin, ACTIVE_HIGH);
    GpioPin_t *motor_e_mode_pin =
        io_gpio_pin_create(MOTOR_E_MODE_GPIO_Port, MOTOR_E_MODE_Pin, ACTIVE_HIGH);
    GpioPin_t *motor_e_dir_pin =
        io_gpio_pin_create(MOTOR_E_DIR_GPIO_Port, MOTOR_E_DIR_Pin, ACTIVE_HIGH);

    PwmPin_t *motor_a_pwm_pin = io_pwm_pin_create(&htim15, TIM_CHANNEL_2);
    PwmPin_t *motor_b_pwm_pin = io_pwm_pin_create(&htim3, TIM_CHANNEL_2);
    PwmPin_t *motor_c_pwm_pin = io_pwm_pin_create(&htim1, TIM_CHANNEL_3);
    PwmPin_t *motor_d_pwm_pin = io_pwm_pin_create(&htim8, TIM_CHANNEL_1);
    PwmPin_t *motor_e_pwm_pin = io_pwm_pin_create(&htim1, TIM_CHANNEL_2);

    AllegroA3931MotorDriver_t *motor_a_driver = io_allegro_a3931_motor_driver_create(
        motor_a_pwm_pin, motor_a_reset_pin, motor_a_mode_pin, motor_a_dir_pin);
    AllegroA3931MotorDriver_t *motor_b_driver = io_allegro_a3931_motor_driver_create(
        motor_b_pwm_pin, motor_b_reset_pin, motor_b_mode_pin, motor_b_dir_pin);
    AllegroA3931MotorDriver_t *motor_c_driver = io_allegro_a3931_motor_driver_create(
        motor_c_pwm_pin, motor_c_reset_pin, motor_c_mode_pin, motor_c_dir_pin);
    AllegroA3931MotorDriver_t *motor_d_driver = io_allegro_a3931_motor_driver_create(
        motor_d_pwm_pin, motor_d_reset_pin, motor_d_mode_pin, motor_d_dir_pin);
    AllegroA3931MotorDriver_t *motor_e_driver = io_allegro_a3931_motor_driver_create(
        motor_e_pwm_pin, motor_e_reset_pin, motor_e_mode_pin, motor_e_dir_pin);

    DrivetrainUnit_t *drivetrain_unit_motor_a = io_drivetrain_unit_create(motor_a_driver);
    DrivetrainUnit_t *drivetrain_unit_motor_b = io_drivetrain_unit_create(motor_b_driver);
    DrivetrainUnit_t *drivetrain_unit_motor_d = io_drivetrain_unit_create(motor_d_driver);
    DrivetrainUnit_t *drivetrain_unit_motor_e = io_drivetrain_unit_create(motor_e_driver);

    io_drivetrain_init(drivetrain_unit_motor_b, drivetrain_unit_motor_d,
                       drivetrain_unit_motor_a, drivetrain_unit_motor_e);

    io_allegro_a3931_motor_setPwmPercentage(motor_c_driver, 0.0f);*/
}

void initIoPowerMonitor(void)
{
    io_power_monitor_init(I2C1, INA226_ADDRESS,
                          INA226_MODE_CONT_SHUNT_AND_BUS | INA226_VBUS_140uS |
                              INA226_VBUS_140uS | INA226_AVG_1024);
}

/* USER CODE END Application */

/************************ (C) COPYRIGHT STMicroelectronics *****END OF FILE****/
